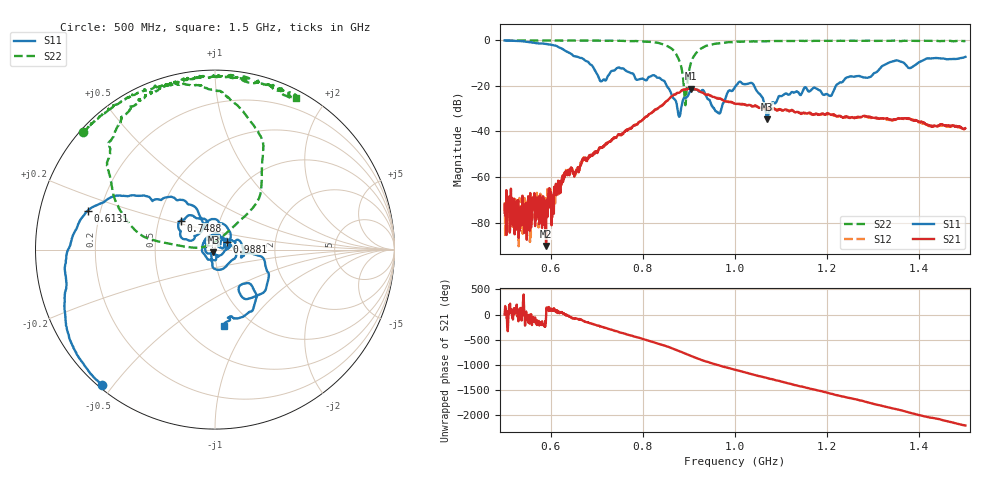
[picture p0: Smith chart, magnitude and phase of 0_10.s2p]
!Agilent Technologies,E8364B,US42250235,A.06.04.32
!Agilent E8364B: A.06.04.32
!Date: Friday, January 15, 2021 15:05:34
!Correction: S11(Full 2 Port(1,2)) S21(Full 2 Port(1,2)) S12(Full 2 Port(1,2)) S22(Full 2 Port(1,2))
!S2P File: Measurements: S11, S21, S12, S22:
# Hz S  dB  R 50
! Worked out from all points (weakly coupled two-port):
!   1601 points, 500 MHz to 1.5 GHz, reference 50 ohm
!   highest |S21| = -21.30 dB at 903.8 MHz (marker M1); lowest = -90.3 dB at 590 MHz (marker M2)
!   lowest |S11| = -34.8 dB at 1.07 GHz (marker M3), VSWR 1.04, Z = 49.1 - j1.59 ohm
!   |S11| at or under -10 dB: 683 MHz to 1.333 GHz (649.7 MHz wide, 64.5 % of centre); 1.367 GHz to 1.397 GHz (30.31 MHz wide, 2.19 % of centre)
!   |S22| runs from -28.5 to -0.1 dB; largest |S21 - S12| = 0.004
!   S11 on the Smith chart (normalised r, x): 500 MHz: 0.01, -0.47; 613.1 MHz: 0.15, +0.15; 748.8 MHz: 0.65, +0.22; 988.1 MHz: 1.13, +0.10; 1.5 GHz: 0.75, -0.79
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5e8  -0.15 -129.8  -75.68 -1.9  -71.08 80.4  -0.15 138.2
5.38125e8  -0.46 -149.1  -72.23 -26.0  -82.76 -53.3  -0.16 134.6
5.9e8  -1.65 -178.3  -90.28 -39.3  -71.68 143.8  -0.16 129.6
6.13125e8  -2.59 163.0  -66.61 84.1  -64.24 60.6  -0.15 127.3
6.66875e8  -7.82 135.5  -54.10 -103.0  -52.94 -104.7  -0.20 121.5
7.1e8  -18.06 135.7  -47.26 119.3  -47.04 118.7  -0.24 116.8
7.4875e8  -12.00 139.8  -41.65 7.1  -41.50 8.5  -0.24 110.2
8.3375e8  -16.47 78.0  -29.73 141.1  -29.61 139.2  -1.21 86.6
8.73125e8  -27.71 -53.6  -23.33 15.1  -23.35 13.5  -6.48 56.6
8.91875e8  -25.37 165.4  -21.66 -54.8  -21.60 -56.1  -28.38 105.2
9.0375e8  -22.11 135.4  -21.30 -99.6  -21.27 -101.3  -10.34 172.0
9.30625e8  -21.87 55.4  -23.08 166.3  -23.22 165.1  -3.17 146.7
9.6375e8  -32.02 42.8  -25.72 75.3  -25.34 72.9  -1.48 133.1
9.88125e8  -22.04 34.6  -27.15 13.7  -26.98 11.6  -0.88 125.4
1e9  -20.58 14.7  -27.88 -16.5  -27.71 -17.7  -0.75 120.9
1.0375e9  -18.91 -82.7  -29.03 -106.5  -28.89 -108.1  -0.54 114.5
1.07e9  -34.77 -117.9  -29.73 179.2  -29.87 176.7  -0.45 109.0
1.09875e9  -24.53 -97.6  -30.46 112.3  -30.56 110.9  -0.37 106.4
1.166875e9  -21.54 44.7  -32.37 -42.5  -32.52 -42.2  -0.35 97.5
1.206875e9  -24.48 26.2  -32.68 -129.9  -32.69 -131.5  -0.29 94.1
1.33375e9  -9.89 -23.1  -34.70 -47.5  -34.93 -46.0  -0.31 79.5
1.5e9  -7.31 -83.5  -38.65 -43.3  -39.08 -46.1  -0.36 61.9
